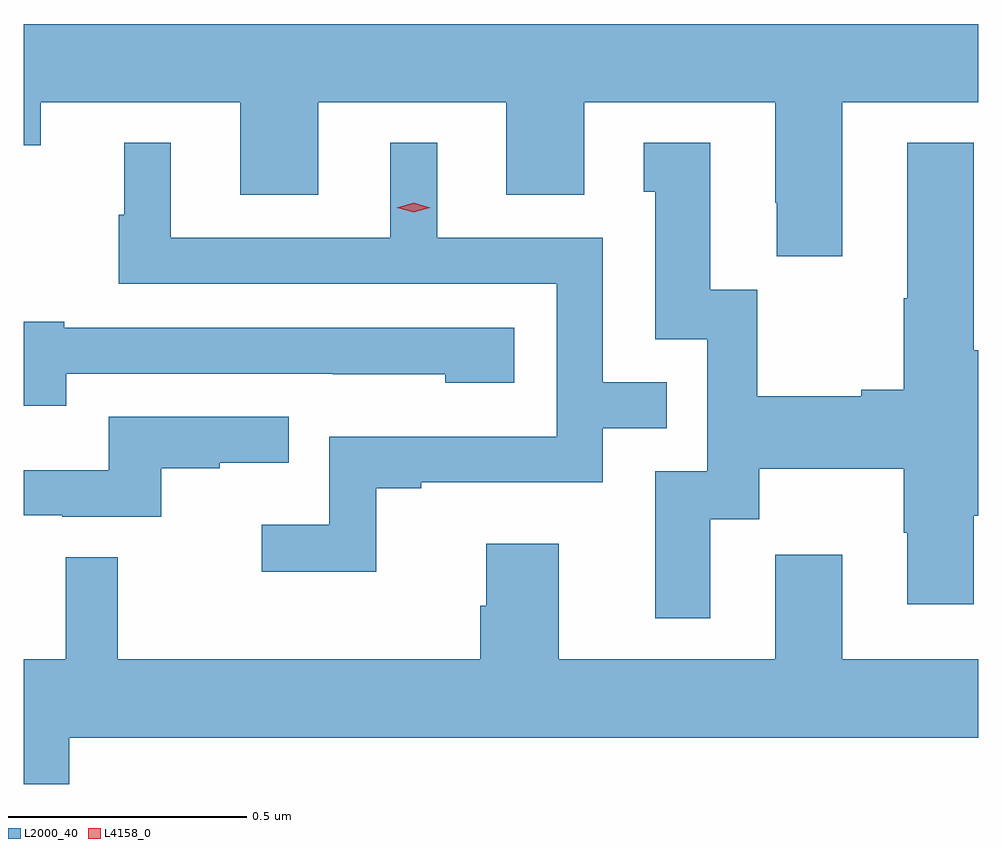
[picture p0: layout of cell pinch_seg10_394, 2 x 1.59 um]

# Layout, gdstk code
import gdstk
lib = gdstk.Library(unit=1e-6, precision=1e-09)
def P(c, l, *ps):  # polygons
    for p in ps: c.add(gdstk.Polygon(p, *l))
L2000_40 = (2000, 40)
L4158_0 = (4158, 0)

pinch_seg10_394 = lib.new_cell('pinch_seg10_394')
P(pinch_seg10_394, L2000_40, [(577.393,1286.996),(577.678,1286.996),(577.678,1287.16),(575.678,1287.16),(575.678,1286.906),(575.713,1286.906),(575.713,1286.996),(576.131,1286.996),(576.131,1286.802),(576.295,1286.802),(576.295,1286.996),(576.689,1286.996),(576.689,1286.802),(576.853,1286.802),(576.853,1286.996),(577.253,1286.996),(577.253,1286.785),(577.256,1286.785),(577.256,1286.673),(577.393,1286.673)],
  [(577.117,1286.122),(577.219,1286.122),(577.219,1286.228),(577.522,1286.228),(577.522,1286.094),(577.529,1286.094),(577.529,1285.944),(577.669,1285.944),(577.669,1286.129),(577.678,1286.129),(577.678,1286.476),(577.669,1286.476),(577.669,1286.911),(577.529,1286.911),(577.529,1286.585),(577.522,1286.585),(577.522,1286.393),(577.433,1286.393),(577.433,1286.38),(577.215,1286.38),(577.215,1286.603),(577.117,1286.603),(577.117,1286.911),(576.977,1286.911),(576.977,1286.808),(577.001,1286.808),(577.001,1286.499),(577.11,1286.499),(577.11,1286.223),(577.001,1286.223),(577.001,1285.914),(577.117,1285.914)],
  [(576.417,1286.187),(576.511,1286.187),(576.511,1286.199),(576.891,1286.199),(576.891,1286.313),(577.025,1286.313),(577.025,1286.409),(576.891,1286.409),(576.891,1286.712),(576.544,1286.712),(576.544,1286.911),(576.446,1286.911),(576.446,1286.712),(575.986,1286.712),(575.986,1286.911),(575.888,1286.911),(575.888,1286.76),(575.877,1286.76),(575.877,1286.616),(576.795,1286.616),(576.795,1286.295),(576.318,1286.295),(576.318,1286.11),(576.177,1286.11),(576.177,1286.012),(576.417,1286.012)],
  [(575.767,1286.427),(576.325,1286.427),(576.325,1286.426),(576.561,1286.426),(576.561,1286.408),(576.706,1286.408),(576.706,1286.523),(575.763,1286.523),(575.763,1286.536),(575.678,1286.536),(575.678,1286.36),(575.767,1286.36)],
  [(575.966,1286.229),(576.089,1286.229),(576.089,1286.24),(576.233,1286.24),(576.233,1286.337),(575.856,1286.337),(575.856,1286.225),(575.678,1286.225),(575.678,1286.13),(575.758,1286.13),(575.758,1286.127),(575.966,1286.127)],
  [(575.773,1285.664),(577.678,1285.664),(577.678,1285.828),(577.393,1285.828),(577.393,1286.047),(577.253,1286.047),(577.253,1285.828),(576.799,1285.828),(576.799,1286.071),(576.647,1286.071),(576.647,1285.941),(576.635,1285.941),(576.635,1285.828),(575.875,1285.828),(575.875,1286.042),(575.766,1286.042),(575.766,1285.828),(575.678,1285.828),(575.678,1285.567),(575.773,1285.567)])
P(pinch_seg10_394, L4158_0, [(576.495,1286.765),(576.46,1286.775),(576.46,1286.775),(576.46,1286.775),(576.495,1286.785),(576.53,1286.775),(576.53,1286.775),(576.53,1286.775)])

lib.write_gds('pinch_seg10_394.gds')
